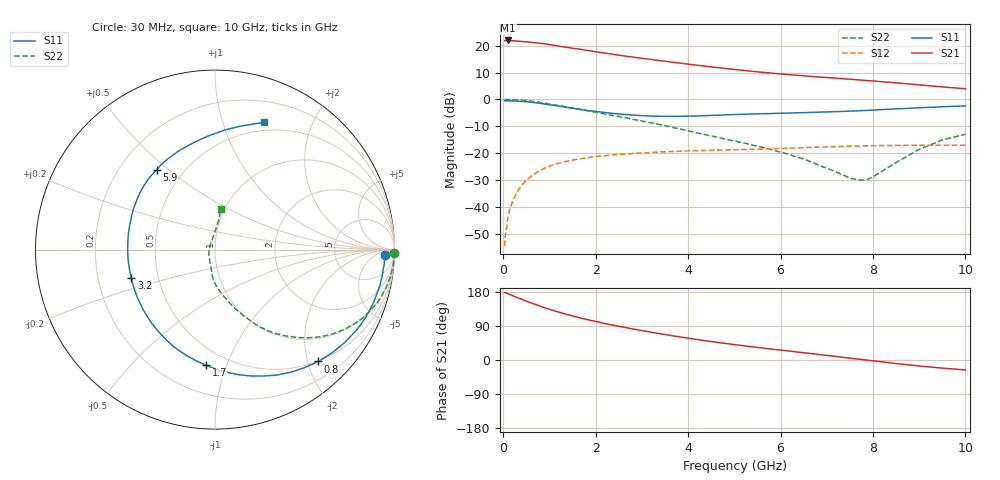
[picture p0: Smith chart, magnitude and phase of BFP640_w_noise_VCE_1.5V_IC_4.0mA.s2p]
! Infineon Technologies  Discrete & RF Semiconductors
! BFP640
! VCE =  1.5 V,  IC =  4.0 mA
! Common Emitter S-Parameters:  Apr 2013
# GHz  S  MA  R  50
!  f  S11  S21  S12  S22
! GHz  MAG  ANG  MAG  ANG  MAG  ANG  MAG  ANG
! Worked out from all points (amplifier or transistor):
!   99 points, 30 MHz to 10 GHz, reference 50 ohm
!   highest |S21| = 21.9 dB at 110 MHz (marker M1)
!   |S21| within 3 dB of that: start of sweep to 1.551 GHz
!   unconditionally stable (mu >= 1): 5.41 GHz to end of sweep
!   at 350 MHz: K = 0.06, MSG = 27.3 dB, |S12| = -33.0 dB
!   at 3.5 GHz: K = 0.76, MSG = 16.8 dB, |S12| = -19.4 dB
!   at 10 GHz: K = 1.17, MAG = 8.0 dB, |S12| = -17.0 dB
!   lowest NFmin = 0.54 dB at 450 MHz
!   S11 on the Smith chart (normalised r, x): 30 MHz: 27, -16; 800 MHz: 0.49, -2.19; 1.7 GHz: 0.38, -0.85; 3.2 GHz: 0.35, -0.15; 5.9 GHz: 0.36, +0.46; 10 GHz: 0.41, +1.38
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0.03  0.9464 -1.8  12.31 178.1  0.0019 90.8  0.9985 -1.0
0.11  0.9435 -6.6  12.45 174.3  0.007 90.2  0.9967 -4.0
0.14  0.9431 -8.3  12.26 172.9  0.0091 87.8  0.9955 -5.1
0.25  0.9356 -15.0  12.25 167.4  0.0158 82.9  0.9878 -9.1
0.5  0.9067 -29.8  11.76 155.4  0.0316 74.1  0.951 -18.1
0.8  0.8479 -47.3  11.02 142.0  0.0483 64.2  0.8819 -27.8
1  0.8019 -58.5  10.44 133.9  0.0579 58.2  0.8267 -33.7
1.2  0.7544 -69.1  9.789 126.4  0.0658 52.6  0.7713 -38.7
1.4  0.709 -79.4  9.221 119.5  0.0725 47.8  0.7189 -43.1
1.7  0.6459 -94.5  8.465 110.0  0.0805 41.6  0.6444 -48.8
2.1  0.5869 -113.3  7.472 98.9  0.0892 34.7  0.5588 -55.5
2.3  0.56 -122.4  7.051 93.7  0.0925 31.8  0.5193 -58.3
2.8  0.5133 -144.3  6.134 82.0  0.0992 25.7  0.4304 -64.3
3.2  0.492 -161.1  5.528 73.3  0.104 21.3  0.3688 -69.2
3.4  0.4879 -169.1  5.252 69.2  0.1063 19.3  0.3415 -71.7
4.2  0.4954 162.6  4.323 54.0  0.1122 12.3  0.2389 -82.7
5.1  0.529 140.0  3.535 39.1  0.1174 5.9  0.163 -93.7
5.9  0.5517 126.1  3.031 27.6  0.1224 1.8  0.111 -100.6
6.7  0.5772 113.9  2.672 16.4  0.1294 -3.1  0.0676 -115.8
7.8  0.624 96.0  2.273 0.6  0.1378 -10.7  0.0319 160.4
8.5  0.6688 85.3  2.035 -9.3  0.1407 -15.9  0.0677 99.8
10  0.76 68.8  1.58 -26.3  0.1416 -24.3  0.2264 82.1
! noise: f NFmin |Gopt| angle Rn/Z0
0.45  0.54  0.5  12  0.12
0.9  0.55  0.5  22  0.12
1.5  0.6  0.44  35  0.12
1.9  0.65  0.39  51  0.12
2.4  0.7  0.36  59  0.11
3.5  0.85  0.3  87  0.11
5.5  1.13  0.3  -163  0.12
10  1.9  0.64  -65  0.47
